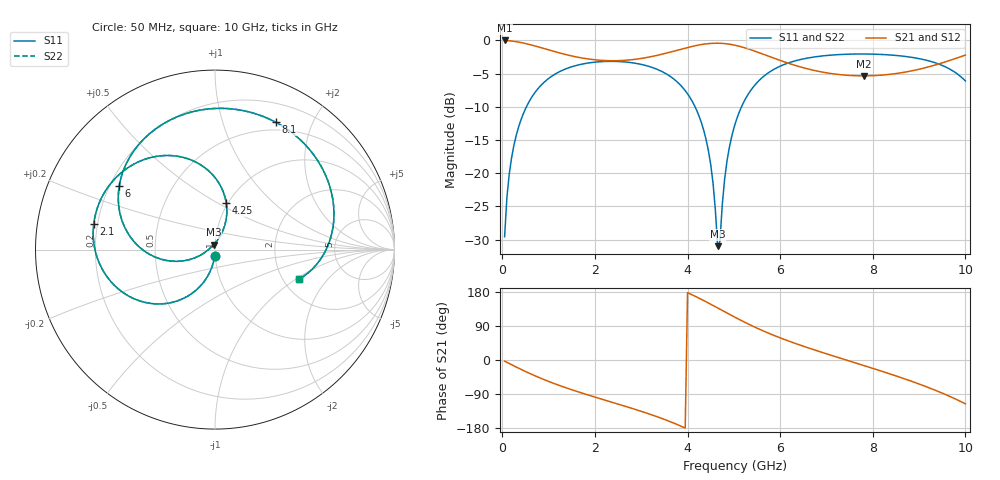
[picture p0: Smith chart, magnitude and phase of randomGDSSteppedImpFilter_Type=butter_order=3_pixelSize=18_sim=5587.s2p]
! freq	dB(S11)	phase(S11)	dB(S12)	phase(S12)
!  dB(S21)	phase(S21)	dB(S22)	phase(S22)
!S-par simulation data
#  GHz  S  DB  R 50
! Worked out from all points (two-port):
!   200 points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, 50 MHz to 10 GHz, reference 50 ohm
!   highest |S21| = -0.01 dB at 50 MHz (marker M1); lowest = -5.3 dB at 7.8 GHz (marker M2)
!   |S21| within 3 dB of the highest: start of sweep to 2.151 GHz; 2.63 GHz to 5.996 GHz (3.367 GHz wide, 78.1 % of centre) (the widest 2 of 3)
!   lowest |S11| = -31.0 dB at 4.65 GHz (marker M3), VSWR 1.06, Z = 49.1 + j2.66 ohm
!   |S11| at or under -10 dB: start of sweep to 521.5 MHz; 4.162 GHz to 5.166 GHz (1.004 GHz wide, 21.5 % of centre)
!   |S22| runs from -30.9 to -2.0 dB; largest |S21 - S12| = 0
!   S11 on the Smith chart (normalised r, x): 50 MHz: 0.99, -0.07; 2.1 GHz: 0.18, +0.10; 4.25 GHz: 0.98, +0.55; 6 GHz: 0.24, +0.28; 8.1 GHz: 0.41, +1.51; 10 GHz: 2.42, -1.06
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0.05  -29.57 -93.4  -0.01 -3.2  -0.01 -3.2  -29.57 -93.4
0.1  -23.60 -96.7  -0.03 -6.3  -0.03 -6.3  -23.60 -96.7
0.2  -17.70 -103.1  -0.09 -12.5  -0.09 -12.5  -17.70 -103.1
0.5  -10.30 -120.9  -0.47 -30.3  -0.47 -30.3  -10.30 -120.9
1.05  -5.48 -149.4  -1.53 -58.9  -1.53 -58.9  -5.48 -149.4
1.75  -3.53 -178.9  -2.68 -88.4  -2.68 -88.4  -3.53 -178.9
2.1  -3.22 167.9  -2.98 -101.6  -2.98 -101.6  -3.22 167.9
3.4  -4.53 118.0  -2.16 -152.2  -2.16 -152.2  -4.53 118.0
4.25  -11.42 76.5  -0.69 163.1  -0.69 163.1  -11.42 76.5
4.5  -18.67 67.4  -0.45 147.2  -0.45 147.2  -18.66 67.5
4.65  -30.99 106.3  -0.42 137.4  -0.42 137.4  -30.89 106.7
4.7  -30.27 170.4  -0.43 134.1  -0.43 134.1  -30.18 169.9
4.85  -18.27 -157.6  -0.52 124.1  -0.52 124.1  -18.27 -157.9
5.05  -12.09 -164.9  -0.77 111.1  -0.77 111.1  -12.09 -165.0
5.55  -6.01 168.5  -1.86 81.3  -1.86 81.3  -6.01 168.4
6  -3.88 146.6  -3.02 58.4  -3.02 58.4  -3.88 146.5
6.7  -2.53 117.2  -4.47 28.2  -4.47 28.2  -2.53 117.2
7.8  -2.05 75.8  -5.34 -14.3  -5.34 -14.3  -2.05 75.8
8.1  -2.09 64.6  -5.28 -25.9  -5.28 -25.9  -2.09 64.5
8.35  -2.18 55.0  -5.13 -35.8  -5.13 -35.8  -2.18 54.9
9.25  -3.16 17.6  -3.90 -74.9  -3.90 -74.9  -3.16 17.5
10  -6.11 -19.6  -2.21 -115.7  -2.21 -115.7  -6.11 -19.5
